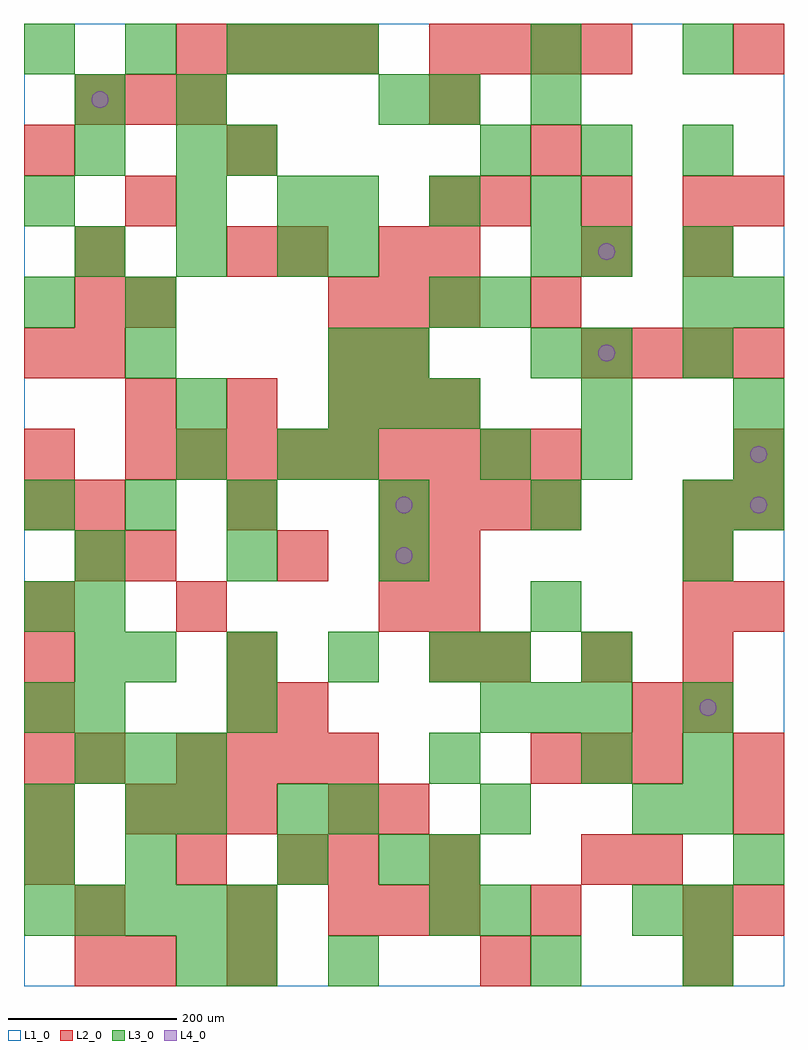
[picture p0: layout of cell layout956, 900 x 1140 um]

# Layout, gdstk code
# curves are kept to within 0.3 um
import gdstk
lib = gdstk.Library(unit=1e-6, precision=1e-09)
def R(c, l, rs):  # rectangles x0, y0, x1, y1
    for r in rs: c.add(gdstk.rectangle(r[:2], r[2:], *l))
def A(c, l, x, y, w, h, nx, ny, dx, dy):  # array of equal rectangles
    R(c, l, [(x+i*dx, y+j*dy, x+i*dx+w, y+j*dy+h) for i in range(nx) for j in range(ny)])
def P(c, l, *ps):  # polygons
    for p in ps: c.add(gdstk.Polygon(p, *l))
L1_0 = (1, 0)
L2_0 = (2, 0)
L3_0 = (3, 0)
L4_0 = (4, 0)

layout956 = lib.new_cell('layout956')
R(layout956, L1_0, [(0,0,900,1140)])
A(layout956, L2_0, 360, 60, 60, 60, 3, 2, 60, 720)
A(layout956, L2_0, 0, 120, 60, 60, 1, 4, 0, 60)
A(layout956, L2_0, 300, 120, 60, 60, 1, 3, 0, 180)
A(layout956, L2_0, 120, 180, 60, 60, 3, 1, 60, 0)
A(layout956, L2_0, 60, 240, 60, 60, 1, 3, 0, 240)
A(layout956, L2_0, 180, 240, 60, 60, 4, 2, 60, 840)
A(layout956, L2_0, 600, 240, 60, 60, 3, 1, 60, 0)
A(layout956, L2_0, 0, 360, 60, 60, 3, 1, 240, 0)
A(layout956, L2_0, 540, 360, 60, 60, 3, 2, 120, 540)
A(layout956, L2_0, 780, 420, 60, 60, 1, 3, 0, 60)
A(layout956, L2_0, 480, 480, 60, 60, 1, 3, 0, 180)
A(layout956, L2_0, 60, 540, 60, 60, 3, 1, 180, 0)
A(layout956, L2_0, 480, 540, 60, 60, 3, 1, 60, 0)
A(layout956, L2_0, 120, 600, 60, 60, 9, 1, 60, 0)
A(layout956, L2_0, 120, 660, 60, 60, 3, 1, 120, 0)
A(layout956, L2_0, 660, 720, 60, 60, 4, 1, 60, 0)
A(layout956, L2_0, 60, 1020, 60, 60, 3, 1, 60, 0)
A(layout956, L2_0, 480, 1080, 60, 60, 4, 1, 60, 0)
R(layout956, L2_0, [(60,0,120,60), (120,0,180,60), (240,0,300,60), (540,0,600,60), (780,0,840,60), (60,60,120,120), (240,60,300,120), (600,60,660,120), (780,60,840,120), (840,60,900,120), (180,120,240,180), (360,120,420,180), (480,120,540,180), (660,120,720,180), (720,120,780,180), (360,180,420,240), (420,180,480,240), (840,180,900,240), (840,240,900,300), (240,300,300,360), (720,300,780,360), (780,300,840,360), (0,420,60,480), (180,420,240,480), (420,420,480,480), (480,420,540,480), (840,420,900,480), (120,480,180,540), (420,480,480,540), (0,540,60,600), (840,540,900,600), (0,600,60,660), (840,600,900,660), (420,660,480,720), (0,720,60,780), (360,720,420,780), (420,720,480,780), (60,780,120,840), (120,780,180,840), (600,780,660,840), (60,840,120,900), (240,840,300,900), (300,840,360,900), (420,840,480,900), (660,840,720,900), (780,840,840,900), (120,900,180,960), (480,900,540,960), (840,900,900,960), (0,960,60,1020), (240,960,300,1020), (600,960,660,1020), (480,1020,540,1080), (840,1080,900,1140)])
A(layout956, L3_0, 0, 60, 60, 60, 5, 1, 60, 0)
A(layout956, L3_0, 0, 180, 60, 60, 1, 3, 0, 120)
A(layout956, L3_0, 360, 180, 60, 60, 3, 1, 180, 0)
A(layout956, L3_0, 780, 180, 60, 60, 1, 3, 0, 60)
A(layout956, L3_0, 60, 240, 60, 60, 3, 1, 60, 0)
A(layout956, L3_0, 60, 300, 60, 60, 1, 3, 0, 60)
A(layout956, L3_0, 540, 300, 60, 60, 3, 1, 60, 0)
A(layout956, L3_0, 120, 360, 60, 60, 4, 1, 120, 0)
A(layout956, L3_0, 60, 480, 60, 60, 3, 1, 180, 0)
A(layout956, L3_0, 0, 540, 60, 60, 3, 2, 120, 540)
A(layout956, L3_0, 420, 540, 60, 60, 3, 1, 180, 0)
A(layout956, L3_0, 840, 540, 60, 60, 1, 3, 0, 60)
A(layout956, L3_0, 360, 600, 60, 60, 1, 3, 0, 120)
A(layout956, L3_0, 660, 600, 60, 60, 1, 3, 0, 60)
A(layout956, L3_0, 360, 660, 60, 60, 3, 1, 60, 0)
A(layout956, L3_0, 780, 720, 60, 60, 1, 3, 0, 60)
A(layout956, L3_0, 60, 840, 60, 60, 3, 1, 120, 0)
A(layout956, L3_0, 180, 900, 60, 60, 1, 3, 0, 60)
A(layout956, L3_0, 360, 900, 60, 60, 3, 1, 120, 0)
A(layout956, L3_0, 540, 960, 60, 60, 3, 1, 120, 0)
R(layout956, L3_0, [(180,0,240,60), (240,0,300,60), (360,0,420,60), (600,0,660,60), (780,0,840,60), (480,60,540,120), (540,60,600,120), (720,60,780,120), (780,60,840,120), (0,120,60,180), (120,120,180,180), (300,120,360,180), (420,120,480,180), (480,120,540,180), (840,120,900,180), (120,180,180,240), (180,180,240,240), (300,180,360,240), (480,240,540,300), (660,240,720,300), (240,300,300,360), (540,360,600,420), (660,360,720,420), (600,420,660,480), (780,480,840,540), (180,600,240,660), (300,600,360,660), (540,600,600,660), (180,660,240,720), (120,720,180,780), (420,720,480,780), (600,720,660,780), (0,780,60,840), (120,780,180,840), (480,780,540,840), (540,780,600,840), (840,780,900,840), (600,840,660,900), (660,840,720,900), (0,900,60,960), (300,900,360,960), (60,960,120,1020), (240,960,300,1020), (60,1020,120,1080), (420,1020,480,1080), (480,1020,540,1080), (600,1020,660,1080), (300,1080,360,1140), (360,1080,420,1140), (600,1080,660,1140), (780,1080,840,1140)])
P(layout956, L4_0, [(100,1050),(99.239,1053.827),(97.071,1057.071),(93.827,1059.239),(90,1060),(86.173,1059.239),(82.929,1057.071),(80.761,1053.827),(80,1050),(80.761,1046.173),(82.929,1042.929),(86.173,1040.761),(90,1040),(93.827,1040.761),(97.071,1042.929),(99.239,1046.173)],
  [(460,510),(459.239,513.827),(457.071,517.071),(453.827,519.239),(450,520),(446.173,519.239),(442.929,517.071),(440.761,513.827),(440,510),(440.761,506.173),(442.929,502.929),(446.173,500.761),(450,500),(453.827,500.761),(457.071,502.929),(459.239,506.173)],
  [(460,570),(459.239,573.827),(457.071,577.071),(453.827,579.239),(450,580),(446.173,579.239),(442.929,577.071),(440.761,573.827),(440,570),(440.761,566.173),(442.929,562.929),(446.173,560.761),(450,560),(453.827,560.761),(457.071,562.929),(459.239,566.173)],
  [(700,750),(699.239,753.827),(697.071,757.071),(693.827,759.239),(690,760),(686.173,759.239),(682.929,757.071),(680.761,753.827),(680,750),(680.761,746.173),(682.929,742.929),(686.173,740.761),(690,740),(693.827,740.761),(697.071,742.929),(699.239,746.173)],
  [(700,870),(699.239,873.827),(697.071,877.071),(693.827,879.239),(690,880),(686.173,879.239),(682.929,877.071),(680.761,873.827),(680,870),(680.761,866.173),(682.929,862.929),(686.173,860.761),(690,860),(693.827,860.761),(697.071,862.929),(699.239,866.173)],
  [(820,330),(819.239,333.827),(817.071,337.071),(813.827,339.239),(810,340),(806.173,339.239),(802.929,337.071),(800.761,333.827),(800,330),(800.761,326.173),(802.929,322.929),(806.173,320.761),(810,320),(813.827,320.761),(817.071,322.929),(819.239,326.173)],
  [(880,570),(879.239,573.827),(877.071,577.071),(873.827,579.239),(870,580),(866.173,579.239),(862.929,577.071),(860.761,573.827),(860,570),(860.761,566.173),(862.929,562.929),(866.173,560.761),(870,560),(873.827,560.761),(877.071,562.929),(879.239,566.173)],
  [(880,630),(879.239,633.827),(877.071,637.071),(873.827,639.239),(870,640),(866.173,639.239),(862.929,637.071),(860.761,633.827),(860,630),(860.761,626.173),(862.929,622.929),(866.173,620.761),(870,620),(873.827,620.761),(877.071,622.929),(879.239,626.173)])

lib.write_gds('layout956.gds')
